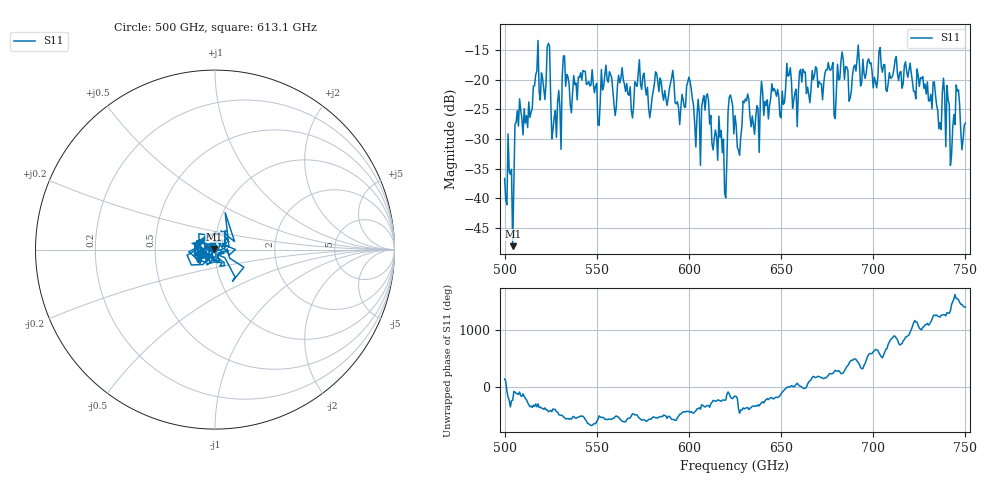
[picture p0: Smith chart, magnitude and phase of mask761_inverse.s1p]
!Created with skrf (http://scikit-rf.org).
# GHz S MA R 50.0
!freq magS11 angS11
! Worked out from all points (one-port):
!   401 points, 500 GHz to 750 GHz, reference 50 ohm
!   lowest |S11| = -48.0 dB at 504.4 GHz (marker M1), VSWR 1.01, Z = 49.7 + j0.278 ohm
!   |S11| at or under -10 dB: start of sweep to end of sweep
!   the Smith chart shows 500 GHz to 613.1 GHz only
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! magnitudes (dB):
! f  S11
! 500 GHz  -36.6
! 504.4 GHz  -48.0
! 506.9 GHz  -25.2
! 513.8 GHz  -26.4
! 516.9 GHz  -19.2
! 523.8 GHz  -13.9
! 526.9 GHz  -26.4
! 531.2 GHz  -19.5
! 562.5 GHz  -20.6
! 579.4 GHz  -25.0
! 590.6 GHz  -19.7
! 593.8 GHz  -23.7
! 600 GHz  -19.6
! 605 GHz  -23.3
! 609.4 GHz  -22.8
! 619.4 GHz  -39.1
! 622.5 GHz  -22.6
! 625 GHz  -26.1
! 656.2 GHz  -24.8
! 676.9 GHz  -18.4
! 680 GHz  -22.0
! 683.8 GHz  -16.7
! 687.5 GHz  -23.2
! 691.2 GHz  -16.6
! 718.8 GHz  -19.6
! 743.1 GHz  -28.1
! 745.6 GHz  -21.9
! 750 GHz  -27.3
